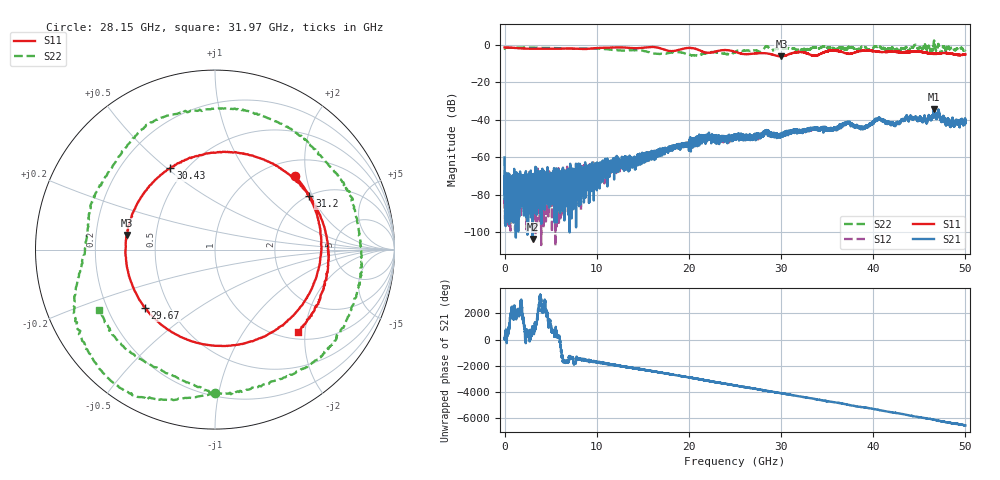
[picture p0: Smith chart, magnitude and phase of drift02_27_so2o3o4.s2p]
!Created with skrf (http://scikit-rf.org).
# Hz S RI R 50.0
!freq ReS11 ImS11 ReS21 ImS21 ReS12 ImS12 ReS22 ImS22
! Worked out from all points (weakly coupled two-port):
!   10001 points, 300 kHz to 50 GHz, reference 50 ohm
!   highest |S21| = -34.23 dB at 46.6 GHz (marker M1); lowest = -103.5 dB at 3.05 GHz (marker M2)
!   lowest |S11| = -6.1 dB at 30.04 GHz (marker M3), VSWR 2.97, Z = 16.9 + j3.64 ohm
!   |S11| at or under -10 dB: nowhere
!   |S22| runs from -5.7 to 2.4 dB; largest |S21 - S12| = 0.0031
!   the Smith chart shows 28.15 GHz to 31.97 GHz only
!   S11 on the Smith chart (normalised r, x): 28.15 GHz: 1.32, +1.72; 29.67 GHz: 0.37, -0.32; 30.43 GHz: 0.41, +0.52; 31.2 GHz: 2.03, +1.90; 31.97 GHz: 1.16, -1.84
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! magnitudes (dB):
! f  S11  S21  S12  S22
! 300 kHz  -1.3  -60.0  -60.2  -2.0
! 260.3 MHz  -1.4  -79.3  -76.9  -1.4
! 3.05 GHz  -2.0  -103.5  -83.2  -1.4
! 6.14 GHz  -2.0  -73.4  -76.5  -1.7
! 8.335 GHz  -2.2  -67.6  -68.7  -1.9
! 16.67 GHz  -1.5  -58.7  -56.7  -4.7
! 21.67 GHz  -3.8  -51.0  -50.7  -4.6
! 25 GHz  -3.7  -50.4  -49.5  -3.9
! 28.15 GHz  -4.4  -46.2  -46.7  -2.0
! 29.67 GHz  -5.9  -48.1  -48.2  -2.1
! 30.04 GHz  -6.1  -47.7  -48.0  -2.0
! 30.43 GHz  -5.7  -48.4  -47.8  -1.9
! 31.2 GHz  -4.4  -45.7  -46.6  -1.7
! 31.97 GHz  -3.7  -45.5  -46.2  -2.8
! 33.34 GHz  -5.5  -44.7  -45.0  -1.5
! 37.29 GHz  -4.7  -41.4  -41.8  -1.3
! 38.81 GHz  -3.1  -43.6  -43.8  -1.2
! 40.64 GHz  -3.7  -38.9  -39.1  -0.9
! 41.67 GHz  -3.7  -41.0  -40.9  -1.9
! 46.6 GHz  -4.7  -34.2  -34.3  1.9
! 48.11 GHz  -4.4  -39.2  -39.6  -0.5
! 50 GHz  -5.0  -40.3  -40.4  -2.7
